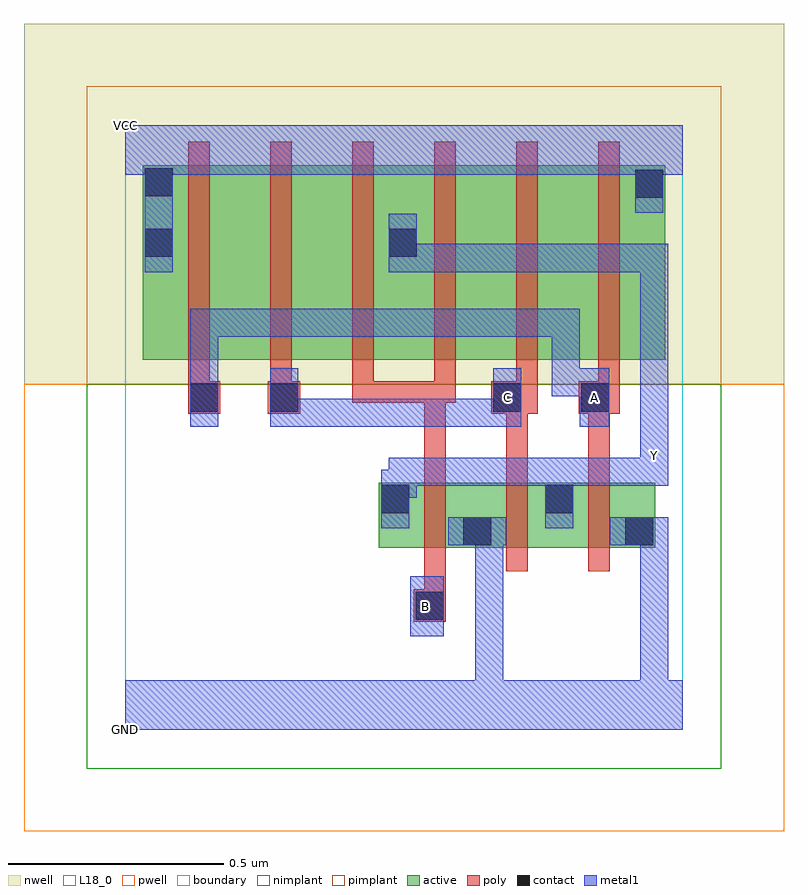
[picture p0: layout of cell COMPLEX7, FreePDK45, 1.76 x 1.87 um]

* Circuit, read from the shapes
.subckt COMPLEX7 A B C GND VCC Y
M1 GND B Y VSUBS nfet w=0.15u l=0.05u
M2 Y C GND VSUBS nfet w=0.15u l=0.05u
M3 GND A Y VSUBS nfet w=0.15u l=0.05u
M4 n1 A VCC n2 pfet w=0.45u l=0.05u
M5 n3 C n1 n2 pfet w=0.45u l=0.05u
M6 Y B n3 n2 pfet w=0.45u l=0.05u
M7 n4 B Y n2 pfet w=0.45u l=0.05u
M8 n5 C n4 n2 pfet w=0.45u l=0.05u
M9 VCC A n5 n2 pfet w=0.45u l=0.05u
.ends

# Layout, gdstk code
import gdstk
lib = gdstk.Library(unit=1e-6, precision=1e-09)
def R(c, l, rs):  # rectangles x0, y0, x1, y1
    for r in rs: c.add(gdstk.rectangle(r[:2], r[2:], *l))
def A(c, l, x, y, w, h, nx, ny, dx, dy):  # array of equal rectangles
    R(c, l, [(x+i*dx, y+j*dy, x+i*dx+w, y+j*dy+h) for i in range(nx) for j in range(ny)])
active = (1, 0)
pwell = (2, 0)
nwell = (3, 0)
nimplant = (4, 0)
pimplant = (5, 0)
poly = (9, 0)
contact = (10, 0)
metal1 = (11, 0)
L18_0 = (18, 0)
boundary = (235, 0)

complex7 = lib.new_cell('COMPLEX7')
R(complex7, active, [(0.587,0.422,0.662,0.572), (0.587,0.422,0.852,0.572), (0.777,0.422,1.042,0.572), (0.777,0.422,0.852,0.547), (0.967,0.422,1.042,0.572), (0.967,0.422,1.227,0.572), (1.152,0.422,1.227,0.572), (0.04,0.857,0.115,1.307), (0.04,0.857,0.265,1.307), (0.265,0.857,0.455,1.307), (0.455,0.857,0.68,1.307), (0.605,0.857,0.835,1.307), (0.605,0.857,0.68,1.2), (0.835,0.857,1.025,1.307), (1.025,0.857,1.25,1.307), (1.175,0.857,1.25,1.307)])
R(complex7, pwell, [(-0.235,-0.235,1.525,0.8)])
R(complex7, nwell, [(-0.235,0.8,1.525,1.635)])
R(complex7, nimplant, [(-0.09,-0.09,1.38,0.8)])
R(complex7, pimplant, [(-0.09,0.8,1.38,1.49)])
A(complex7, poly, 0.692, 0.367, 0.05, 0.26, 3, 1, 0.19, 0)
A(complex7, poly, 0.145, 0.757, 0.05, 0.095, 6, 1, 0.19, 0)
A(complex7, poly, 0.145, 0.802, 0.05, 0.56, 6, 1, 0.19, 0)
R(complex7, poly, [(0.667,0.25,0.742,0.325), (0.692,0.275,0.742,0.417), (0.692,0.577,0.742,0.807), (0.882,0.577,0.932,0.782), (1.072,0.577,1.122,0.782), (0.145,0.732,0.22,0.807), (0.33,0.732,0.405,0.807), (0.847,0.732,0.955,0.807), (1.05,0.732,1.145,0.807), (0.525,0.757,0.742,0.807), (0.525,0.757,0.575,0.807), (0.525,0.757,0.575,0.807), (0.525,0.757,0.575,0.807), (0.692,0.757,0.765,0.807)])
R(complex7, contact, [(0.672,0.255,0.737,0.32), (0.782,0.427,0.847,0.492), (1.157,0.427,1.222,0.492), (0.592,0.502,0.657,0.567), (0.972,0.502,1.037,0.567), (0.15,0.737,0.215,0.802), (0.335,0.737,0.4,0.802), (0.852,0.737,0.917,0.802), (1.055,0.737,1.12,0.802), (0.045,1.095,0.11,1.16), (0.61,1.095,0.675,1.16), (1.18,1.232,1.245,1.297), (0.045,1.235,0.11,1.3)])
R(complex7, metal1, [(0,0,1.29,0.115), (0.81,0.05,0.875,0.492), (1.192,0.05,1.257,0.492), (0.66,0.217,0.737,0.355), (0.747,0.427,0.882,0.492), (0.81,0.427,0.875,0.492), (0.81,0.427,0.875,0.492), (0.81,0.427,0.875,0.492), (0.81,0.427,0.875,0.492), (0.81,0.427,0.875,0.492), (0.81,0.427,0.875,0.492), (0.81,0.427,0.875,0.492), (0.81,0.427,0.875,0.492), (1.122,0.427,1.257,0.492), (1.192,0.427,1.257,0.492), (1.192,0.427,1.257,0.492), (1.192,0.427,1.257,0.492), (1.192,0.427,1.257,0.492), (1.192,0.427,1.257,0.492), (1.192,0.427,1.257,0.492), (1.192,0.427,1.257,0.492), (1.192,0.427,1.257,0.492), (0.592,0.467,0.657,0.602), (0.972,0.467,1.037,0.63), (0.592,0.537,0.675,0.602), (0.61,0.537,0.675,0.63), (0.61,0.565,0.9,0.63), (0.835,0.565,0.9,0.63), (0.835,0.565,0.9,0.63), (0.835,0.565,0.9,0.63), (0.835,0.565,1.037,0.63), (0.972,0.565,1.257,0.63), (1.192,0.565,1.257,0.63), (1.192,0.565,1.257,0.63), (1.192,0.565,1.257,0.63), (1.192,0.565,1.257,0.63), (1.192,0.565,1.257,0.702), (1.192,0.637,1.257,1.125), (1.192,0.637,1.257,0.702), (1.192,0.637,1.257,0.702), (0.15,0.702,0.215,0.837), (0.335,0.702,0.4,0.837), (0.335,0.702,0.4,0.767), (0.335,0.702,0.4,0.767), (0.335,0.702,0.537,0.767), (0.472,0.702,0.537,0.767), (0.472,0.702,0.537,0.767), (0.472,0.702,0.537,0.767), (0.472,0.702,0.762,0.767), (0.697,0.702,0.762,0.767), (0.697,0.702,0.9,0.767), (0.835,0.702,0.9,0.767), (0.835,0.702,0.917,0.767), (0.852,0.702,0.917,0.837), (1.052,0.702,1.12,0.837), (0.15,0.772,0.215,0.837), (0.15,0.772,0.215,0.837), (0.15,0.772,0.215,0.975), (0.987,0.772,1.052,0.837), (0.987,0.772,1.117,0.837), (0.987,0.772,1.052,0.975), (0.15,0.91,0.215,0.975), (0.15,0.91,0.4,0.975), (0.335,0.91,0.4,0.975), (0.335,0.91,0.4,0.975), (0.335,0.91,0.4,0.975), (0.335,0.91,0.537,0.975), (0.472,0.91,0.537,0.975), (0.472,0.91,0.625,0.975), (0.56,0.91,0.625,0.975), (0.56,0.91,0.675,0.975), (0.61,0.91,0.675,0.975), (0.61,0.91,0.9,0.975), (0.835,0.91,0.9,0.975), (0.835,0.91,0.9,0.975), (0.835,0.91,0.9,0.975), (0.835,0.91,1.052,0.975), (0.987,0.91,1.052,0.975), (0.045,1.06,0.11,1.335), (0.61,1.06,0.675,1.195), (0.61,1.06,0.675,1.125), (0.61,1.06,0.675,1.125), (0.61,1.06,0.9,1.125), (0.835,1.06,0.9,1.125), (0.835,1.06,0.9,1.125), (0.835,1.06,0.9,1.125), (0.835,1.06,1.05,1.125), (0.985,1.06,1.05,1.125), (0.985,1.06,1.14,1.125), (1.075,1.06,1.257,1.125), (1.075,1.06,1.14,1.125), (1.192,1.06,1.257,1.125), (1.18,1.197,1.245,1.332), (1.18,1.267,1.245,1.35), (0.045,1.27,0.11,1.35), (0,1.285,1.29,1.4)])
R(complex7, L18_0, [(0,0,1.29,0.115), (0.81,0.05,0.875,0.492), (1.192,0.05,1.257,0.492), (0.66,0.217,0.737,0.355), (0.662,0.252,0.727,0.317), (0.747,0.427,0.882,0.492), (0.81,0.427,0.875,0.492), (0.81,0.427,0.875,0.492), (0.81,0.427,0.875,0.492), (0.81,0.427,0.875,0.492), (0.81,0.427,0.875,0.492), (0.81,0.427,0.875,0.492), (0.81,0.427,0.875,0.492), (0.81,0.427,0.875,0.492), (1.122,0.427,1.257,0.492), (1.192,0.427,1.257,0.492), (1.192,0.427,1.257,0.492), (1.192,0.427,1.257,0.492), (1.192,0.427,1.257,0.492), (1.192,0.427,1.257,0.492), (1.192,0.427,1.257,0.492), (1.192,0.427,1.257,0.492), (1.192,0.427,1.257,0.492), (0.592,0.467,0.657,0.602), (0.972,0.467,1.037,0.63), (0.592,0.537,0.675,0.602), (0.61,0.537,0.675,0.63), (0.61,0.565,0.9,0.63), (0.835,0.565,0.9,0.63), (0.835,0.565,0.9,0.63), (0.835,0.565,0.9,0.63), (0.835,0.565,1.037,0.63), (0.972,0.565,1.257,0.63), (1.192,0.565,1.257,0.63), (1.192,0.565,1.257,0.63), (1.192,0.565,1.257,0.63), (1.192,0.565,1.257,0.63), (1.192,0.565,1.257,0.702), (1.192,0.602,1.257,0.667), (1.192,0.637,1.257,0.702), (1.192,0.637,1.257,0.702), (1.192,0.637,1.257,1.125), (0.15,0.702,0.215,0.837), (0.335,0.702,0.4,0.837), (0.335,0.702,0.4,0.767), (0.335,0.702,0.4,0.767), (0.335,0.702,0.537,0.767), (0.472,0.702,0.537,0.767), (0.472,0.702,0.537,0.767), (0.472,0.702,0.537,0.767), (0.472,0.702,0.762,0.767), (0.697,0.702,0.762,0.767), (0.697,0.702,0.9,0.767), (0.835,0.702,0.9,0.767), (0.835,0.702,0.917,0.767), (0.852,0.702,0.917,0.837), (1.052,0.702,1.12,0.837), (0.852,0.737,0.917,0.802), (1.052,0.737,1.117,0.802), (0.15,0.772,0.215,0.837), (0.15,0.772,0.215,0.837), (0.15,0.772,0.215,0.975), (0.987,0.772,1.052,0.837), (0.987,0.772,1.052,0.975), (0.987,0.772,1.117,0.837), (0.15,0.91,0.215,0.975), (0.15,0.91,0.4,0.975), (0.335,0.91,0.4,0.975), (0.335,0.91,0.4,0.975), (0.335,0.91,0.4,0.975), (0.335,0.91,0.537,0.975), (0.472,0.91,0.537,0.975), (0.472,0.91,0.625,0.975), (0.56,0.91,0.625,0.975), (0.56,0.91,0.675,0.975), (0.61,0.91,0.675,0.975), (0.61,0.91,0.9,0.975), (0.835,0.91,0.9,0.975), (0.835,0.91,0.9,0.975), (0.835,0.91,0.9,0.975), (0.835,0.91,1.052,0.975), (0.987,0.91,1.052,0.975), (0.045,1.06,0.11,1.335), (0.61,1.06,0.675,1.195), (0.61,1.06,0.675,1.125), (0.61,1.06,0.675,1.125), (0.61,1.06,0.9,1.125), (0.835,1.06,0.9,1.125), (0.835,1.06,0.9,1.125), (0.835,1.06,0.9,1.125), (0.835,1.06,1.05,1.125), (0.985,1.06,1.05,1.125), (0.985,1.06,1.14,1.125), (1.075,1.06,1.14,1.125), (1.075,1.06,1.257,1.125), (1.192,1.06,1.257,1.125), (1.18,1.197,1.245,1.332), (1.18,1.267,1.245,1.35), (0.045,1.27,0.11,1.35), (0,1.285,1.29,1.4)])
R(complex7, boundary, [(0,0,1.29,1.4)])
complex7.add(gdstk.Label('A', (1.085,0.77), layer=11, texttype=0))
complex7.add(gdstk.Label('B', (0.695,0.285), layer=11, texttype=0))
complex7.add(gdstk.Label('C', (0.885,0.77), layer=11, texttype=0))
complex7.add(gdstk.Label('Y', (1.225,0.635), layer=11, texttype=0))
complex7.add(gdstk.Label('VCC', (0,1.4), layer=11, texttype=0))
complex7.add(gdstk.Label('GND', (0,0), layer=11, texttype=0))

lib.write_gds('COMPLEX7.gds')
